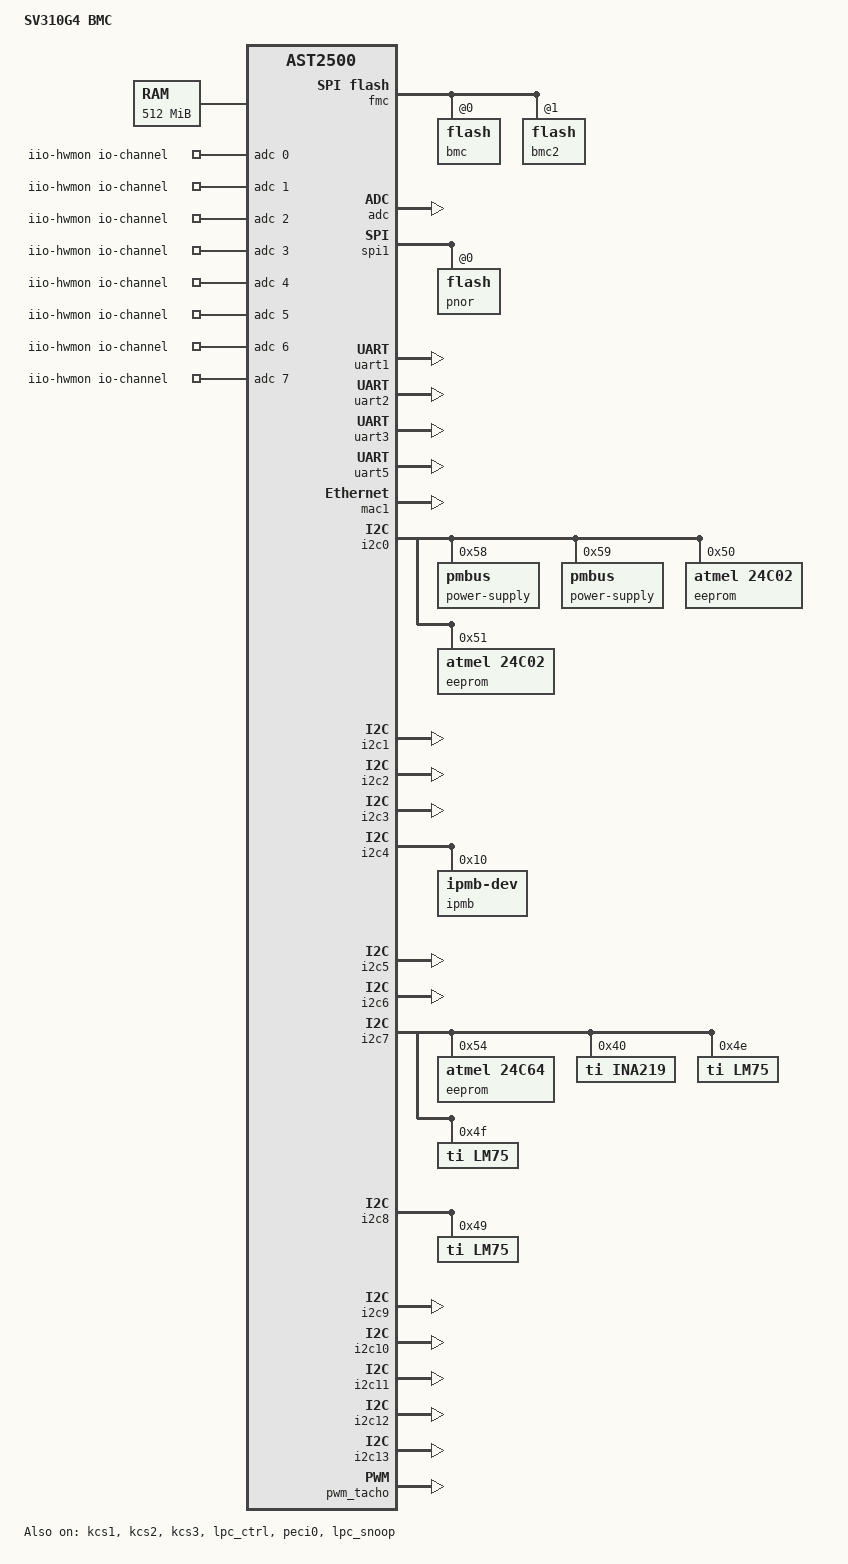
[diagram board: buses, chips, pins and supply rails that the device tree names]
// SPDX-License-Identifier: GPL-2.0+
// Copyright (c) 2019 Wiwynn Inc.
/dts-v1/;

#include "aspeed-g5.dtsi"
#include <dt-bindings/gpio/aspeed-gpio.h>

/ {
	model = "SV310G4 BMC";
	compatible = "wiwynn,sv310g4-bmc", "aspeed,ast2500";
	aliases {
		serial0 = &uart1;
		serial4 = &uart5;
	};
	chosen {
		stdout-path = &uart5;
		bootargs = "console=ttyS4,115200 earlyprintk";
	};

	memory@80000000 {
		reg = <0x80000000 0x20000000>;
	};
	reserved-memory {
		#address-cells = <1>;
		#size-cells = <1>;
		ranges;

		flash_memory: region@98000000 {
            no-map;
            reg = <0x98000000 0x04000000>; /* 64M */
        };

		vga_memory: framebuffer@7f000000 {
			no-map;
			reg = <0x7f000000 0x01000000>;
		};
        safs_memory: region@30000000 {
            no-map;
            reg = <0x30000000 0x08000000>; /* 128M */
        };

        gfx_memory: framebuffer {
            size = <0x04000000>;
            alignment = <0x01000000>;
            compatible = "shared-dma-pool";
            reusable;
        };
	};

	iio-hwmon {
		compatible = "iio-hwmon";
		io-channels = <&adc 0>, <&adc 1>, <&adc 2>, <&adc 3>,
			<&adc 4>, <&adc 5>, <&adc 6>, <&adc 7>, <&adc 8>,
			<&adc 9>, <&adc 10>, <&adc 11>, <&adc 12>, <&adc 13>,
			<&adc 14>, <&adc 15>;
	};
};

&fmc {
	status = "okay";
	flash@0 {
		status = "okay";
		m25p,fast-read;
		label = "bmc";
// #include "openbmc-flash-layout.dtsi"
		#include "openbmc-flash-layout-64.dtsi"
	};
	flash@1 {
		status = "okay";
		m25p,fast-read;
		label = "bmc2";
	};
};

&adc {
	status = "okay";
};

&spi1 {
	status = "okay";
	pinctrl-names = "default";
	pinctrl-0 = <&pinctrl_spi1_default>;
	flash@0 {
		status = "okay";
		m25p,fast-read;
		label = "pnor";
	};
};

&uart1 {
	status = "okay";
	pinctrl-names = "default";
	pinctrl-0 = <&pinctrl_ncts1_default
                 &pinctrl_ndcd1_default
                 &pinctrl_ndsr1_default
                 &pinctrl_nri1_default
                 &pinctrl_ndtr1_default
                 &pinctrl_nrts1_default
                 &pinctrl_txd1_default
                 &pinctrl_rxd1_default>;
};

&uart2 {
	status = "okay";
};

&uart3 {
	status = "okay";
};

&uart5 {
	// BMC Console
	status = "okay";
};

&kcs1 {
	// BMC KCS channel 1
	status = "okay";
	aspeed,lpc-io-reg = <0xca0>;
};

&kcs2 {
	// BMC KCS channel 2
	status = "okay";
	aspeed,lpc-io-reg = <0xca8>;
};

&kcs3 {
	// BMC KCS channel 3
	status = "okay";
	aspeed,lpc-io-reg = <0xca2>;
};

/*
&mac0 {
	status = "okay";

	pinctrl-names = "default";
	pinctrl-0 = <&pinctrl_rgmii1_default &pinctrl_mdio1_default>;
};
*/

&mac1 {
	status = "okay";
	pntctrl-names = "default";
	pinctrl-0 = <&pinctrl_rgmii2_default &pinctrl_mdio2_default>;
	//use-ncsi;
};

&i2c0 {
	status = "okay";

	power-supply@58{
		compatible = "pmbus";
		reg = <0x58>;
	};

	power-supply@59{
		compatible = "pmbus";
		reg = <0x59>;
	};

	/* PSU0 FRU */
	eeprom@50 {
		compatible = "atmel,24c02";
		reg = <0x50>;
	};

	/* PSU1 FRU */
	eeprom@51 {
		compatible = "atmel,24c02";
		reg = <0x51>;
	};
};

&i2c1 {
	status = "okay";
};

&i2c2 {
	status = "okay";
};

&i2c3 {
	status = "okay";
};

&i2c4 {
	status = "okay";
	multi-master =<1>;
	ipmb@10 {
		compatible = "ipmb-dev";
		reg = <0x10>;
		i2c-protocol;
	};
};

&i2c5 {
	status = "okay";
};

&i2c6 {
	status = "okay";
};

&i2c7 {
	status = "okay";
	eeprom@54 {
		compatible = "atmel,24c64";
		reg = <0x54>;
		pagesize = <32>;
	};

	/* Fan Power */
	ina219@40 {
		compatible = "ti,ina219";
		reg = <0x40>;
		shunt-resistor = <2000>;
	};

	/* SYS Inlet */
	lm75@4e {
		compatible = "ti,lm75";
		reg = <0x4e>;
	};

	/* SYS Outlet */
	lm75@4f {
		compatible = "ti,lm75";
		reg = <0x4f>;
	};
};

&i2c8 {
	status = "okay";
	/* FP Temp */
	lm75@49 {
		compatible = "ti,lm75";
		reg = <0x49>;
	};
};

&i2c9 {
	status = "okay";
};

&i2c10 {
	status = "okay";
};

&i2c11 {
	status = "okay";
};

&i2c12 {
	status = "okay";
};

&i2c13 {
	status = "okay";
};

&lpc_ctrl {
	status = "okay";
	memory-region = <&flash_memory>;
	flash = <&spi1>;
};

&peci0 {
    status = "okay";
};

&lpc_snoop {
    status = "okay";
    snoop-ports = <0x80>;
};

&pwm_tacho {
	status = "okay";
	pinctrl-names = "default";
	pinctrl-0 = <&pinctrl_pwm0_default
                 &pinctrl_pwm1_default
                 &pinctrl_pwm2_default
                 &pinctrl_pwm3_default
                 &pinctrl_pwm4_default
                 &pinctrl_pwm5_default>;
	fan@0 {
		reg = <0x00>;
		aspeed,fan-tach-ch = /bits/ 8 <0x00>;
	};

	fan@1 {
		reg = <0x00>;
		aspeed,fan-tach-ch = /bits/ 8 <0x01>;
	};

	fan@2 {
		reg = <0x01>;
		aspeed,fan-tach-ch = /bits/ 8 <0x02>;
	};

	fan@3 {
		reg = <0x01>;
		aspeed,fan-tach-ch = /bits/ 8 <0x03>;
	};

	fan@4 {
		reg = <0x02>;
		aspeed,fan-tach-ch = /bits/ 8 <0x04>;
	};

	fan@5 {
		reg = <0x02>;
		aspeed,fan-tach-ch = /bits/ 8 <0x05>;
	};

	fan@6 {
		reg = <0x03>;
		aspeed,fan-tach-ch = /bits/ 8 <0x06>;
	};

	fan@7 {
		reg = <0x03>;
		aspeed,fan-tach-ch = /bits/ 8 <0x07>;
	};

	fan@8 {
		reg = <0x04>;
		aspeed,fan-tach-ch = /bits/ 8 <0x08>;
	};

	fan@9 {
		reg = <0x04>;
		aspeed,fan-tach-ch = /bits/ 8 <0x09>;
	};

	fan@10 {
		reg = <0x05>;
		aspeed,fan-tach-ch = /bits/ 8 <0x0a>;
	};

	fan@11 {
		reg = <0x05>;
		aspeed,fan-tach-ch = /bits/ 8 <0x0b>;
	};
};
